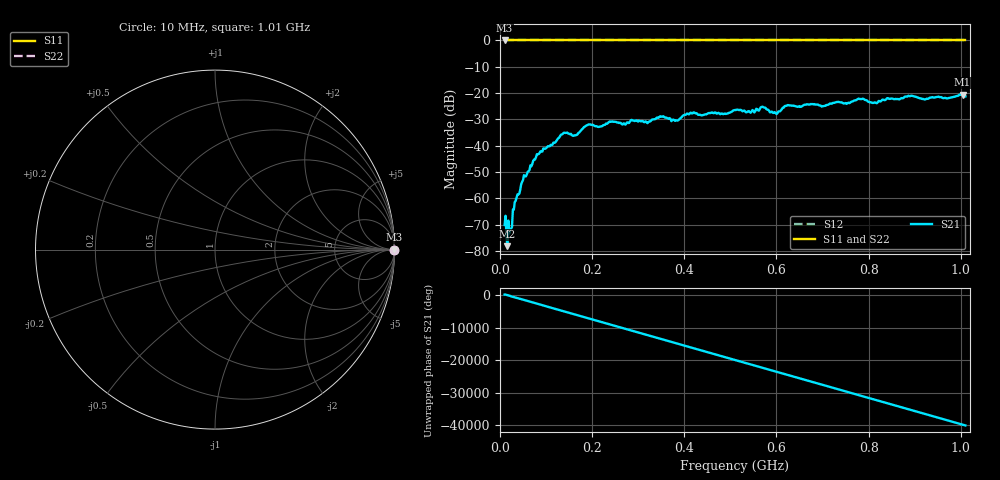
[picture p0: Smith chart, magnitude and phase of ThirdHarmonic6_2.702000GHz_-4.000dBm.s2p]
! 8/17/2025 6:28:28 AM
! C:\ANRITSUVNA\TEMP\TEMP.S2P
! CHANNEL.1
! TR.MEASUREMENT
! RAW.DATA
! RF.CORRECTION.OFF
! AVERAGING.OFF
! IF.BANDWIDTH: 5KHZ
! SWEEPTYPE:  FREQ.SWEEP(Linear)
! Reference Plane Port Info
! PORT:  PORT1  PORT2
! DISTANCE:  0  m  0  m
! TIME:  0  s  0  s
! PHASE.OFFSET:  0  deg.  0  deg.
! LOSS:  0  dB  0  dB
! REF.LOSS:  0  dB  0  dB
! REF.FREQ:  0  Hz  0  Hz
! Power Info
! POWER:  -20  dBm  -20  dBm
! EFF.POWER:  -20  dBm  -20  dBm
! SOURCE.ATTEN:  0  dB  0  dB
! TEST.ATTEN:  0  dB  0  dB
# GHZ S RI R 50.0
! FREQ.GHZ  S11RE  S11IM  S21RE  S21IM  S12RE  S12IM  S22RE  S22IM
!; PortSelection: Port_12
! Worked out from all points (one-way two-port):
!   501 points, 10 MHz to 1.01 GHz, reference 50 ohm
!   highest |S21| = -20.53 dB at 1.004 GHz (marker M1); lowest = -78.2 dB at 16 MHz (marker M2)
!   lowest |S11| = 0.0 dB at 10 MHz (marker M3)
!   |S11| at or under -10 dB: nowhere
!   |S22| runs from 0.0 to 0.0 dB; largest |S21 - S12| = 1.1
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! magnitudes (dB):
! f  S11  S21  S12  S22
! 10 MHz  0.0  -70.1  0.0  0.0
! 16 MHz  0.0  -78.2  0.0  0.0
! 20 MHz  0.0  -73.3  0.0  0.0
! 32 MHz  0.0  -61.4  0.0  0.0
! 50 MHz  0.0  -53.0  0.0  0.0
! 78 MHz  0.0  -44.4  0.0  0.0
! 136 MHz  0.0  -35.5  0.0  0.0
! 162 MHz  0.0  -36.0  0.0  0.0
! 178 MHz  0.0  -33.7  0.0  0.0
! 192 MHz  0.0  -31.9  0.0  0.0
! 322 MHz  0.0  -31.0  0.0  0.0
! 344 MHz  0.0  -29.4  0.0  0.0
! 384 MHz  0.0  -30.4  0.0  0.0
! 416 MHz  0.0  -27.7  0.0  0.0
! 510 MHz  0.0  -26.4  0.0  0.0
! 570 MHz  0.0  -25.2  0.0  0.0
! 598 MHz  0.0  -27.5  0.0  0.0
! 622 MHz  0.0  -24.8  0.0  0.0
! 678 MHz  0.0  -24.2  0.0  0.0
! 844 MHz  0.0  -22.1  0.0  0.0
! 1.004 GHz  0.0  -20.5  0.0  0.0
! 1.01 GHz  0.0  -21.2  0.0  0.0
